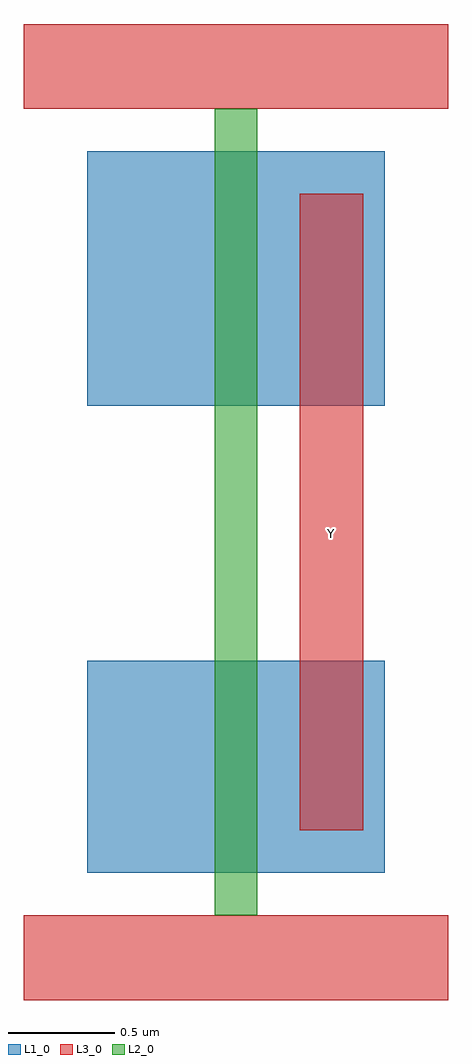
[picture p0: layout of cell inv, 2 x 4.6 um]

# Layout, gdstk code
import gdstk
lib = gdstk.Library(unit=1e-6, precision=1e-09)
def R(c, l, rs):  # rectangles x0, y0, x1, y1
    for r in rs: c.add(gdstk.rectangle(r[:2], r[2:], *l))
L1_0 = (1, 0)
L2_0 = (2, 0)
L3_0 = (3, 0)

inv = lib.new_cell('inv')
R(inv, L1_0, [(0.3,0.4,1.7,1.4), (0.3,2.6,1.7,3.8)])
R(inv, L2_0, [(0.9,0.2,1.1,4)])
R(inv, L3_0, [(0,-0.2,2,0.2), (1.3,0.6,1.6,3.6), (0,4,2,4.4)])
inv.add(gdstk.Label('Y', (1.45,2), layer=3, texttype=0))

lib.write_gds('inv.gds')
